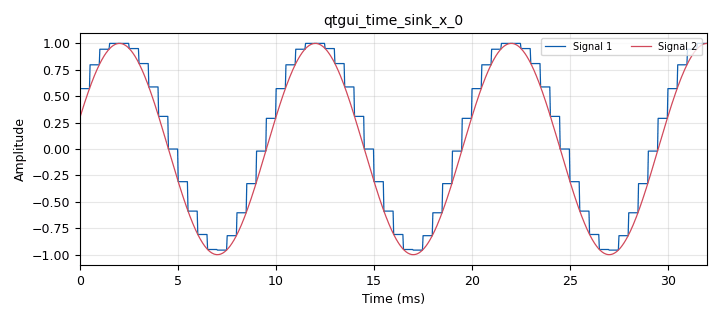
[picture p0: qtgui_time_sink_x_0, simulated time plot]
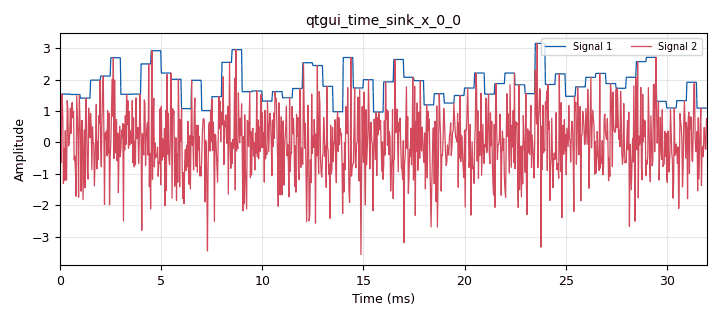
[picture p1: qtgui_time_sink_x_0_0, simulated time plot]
options:
  parameters:
    author: jim
    generate_options: qt_gui
    id: python_block_with_vectors
    output_language: python
    title: vectorinput
  states: {}

blocks:
- name: samp_rate
  id: variable
  parameters:
    value: '32000'
  states: {}
- name: vectorLength
  id: variable
  parameters:
    value: '16'
  states: {}
- name: analog_noise_source_x_0
  id: analog_noise_source_x
  parameters:
    amp: '1'
    noise_type: analog.GR_GAUSSIAN
    seed: '0'
    type: float
  states: {}
- name: analog_sig_source_x_0
  id: analog_sig_source_x
  parameters:
    amp: '1'
    freq: '100'
    offset: '0'
    phase: '0'
    samp_rate: samp_rate
    type: float
    waveform: analog.GR_COS_WAVE
  states: {}
- name: blocks_stream_to_vector_0
  id: blocks_stream_to_vector
  parameters:
    num_items: vectorLength
    type: float
  states: {}
- name: blocks_stream_to_vector_0_0
  id: blocks_stream_to_vector
  parameters:
    num_items: vectorLength
    type: float
  states: {}
- name: blocks_throttle2_0
  id: blocks_throttle2
  parameters:
    samples_per_second: samp_rate
    type: float
  states: {}
- name: blocks_vector_to_stream_0
  id: blocks_vector_to_stream
  parameters:
    num_items: vectorLength
    type: float
  states: {}
- name: blocks_vector_to_stream_0_0
  id: blocks_vector_to_stream
  parameters:
    num_items: vectorLength
    type: float
  states: {}
- name: epy_block_0
  id: epy_block
  parameters:
    _source_code: "\"\"\"\nEmbedded Python Blocks:\n\nEach time this file is saved, GRC will instantiate the first class it finds\nto get ports and parameters of your block. The arguments to __init__  will\nbe the parameters. All of them are required to have default values!\n\"\"\"\n\nimport numpy as np\nfrom gnuradio import gr\n\n\nclass blk(gr.sync_block):  # other base classes are basic_block, decim_block, interp_block\n    \"\"\"Embedded Python Block example - a simple multiply const\"\"\"\n\n    def __init__(self, vectorSize=16):  # only default arguments here\n        \"\"\"arguments to this function show up as parameters in GRC\"\"\"\n        gr.sync_block.__init__(\n            self,\n            name='Max Hold Block',   # will show up in GRC\n            in_sig=[(np.float32,vectorSize),(np.float32,vectorSize)],\n            out_sig=[(np.float32,vectorSize),(np.float32,vectorSize)]\n        )\n        # if an attribute with the same name as a parameter is found,\n        # a callback is registered (properties work, too).\n        \n\n    def work(self, input_items, output_items):\n        \"\"\"example: multiply with constant\"\"\"\n        for portIndex in range(len(input_items)):\n            for vectorIndex in range(len(input_items[portIndex])):\n                maxValue = np.max(input_items[portIndex][vectorIndex])\n                for sampleIndex in range(len(input_items[portIndex][vectorIndex])):\n                    output_items[portIndex][vectorIndex][sampleIndex] = maxValue\n\n        return len(output_items[0])\n    \n"
    vectorSize: '16'
  states: {}
- name: qtgui_time_sink_x_0
  id: qtgui_time_sink_x
  parameters:
    autoscale: 'True'
    entags: 'False'
    nconnections: '2'
    size: '1024'
    srate: samp_rate
    type: float
  states: {}
- name: qtgui_time_sink_x_0_0
  id: qtgui_time_sink_x
  parameters:
    autoscale: 'True'
    entags: 'False'
    nconnections: '2'
    size: '1024'
    srate: samp_rate
    type: float
  states: {}
- name: virtual_sink_0
  id: virtual_sink
  parameters:
    stream_id: sinusoid
  states: {}
- name: virtual_sink_1
  id: virtual_sink
  parameters:
    stream_id: noise
  states: {}
- name: virtual_source_0
  id: virtual_source
  parameters:
    stream_id: sinusoid
  states: {}
- name: virtual_source_1
  id: virtual_source
  parameters:
    stream_id: noise
  states: {}

connections:
- [analog_noise_source_x_0, '0', blocks_stream_to_vector_0_0, '0']
- [analog_noise_source_x_0, '0', virtual_sink_1, '0']
- [analog_sig_source_x_0, '0', blocks_throttle2_0, '0']
- [analog_sig_source_x_0, '0', virtual_sink_0, '0']
- [blocks_stream_to_vector_0, '0', epy_block_0, '0']
- [blocks_stream_to_vector_0_0, '0', epy_block_0, '1']
- [blocks_throttle2_0, '0', blocks_stream_to_vector_0, '0']
- [blocks_vector_to_stream_0, '0', qtgui_time_sink_x_0, '0']
- [blocks_vector_to_stream_0_0, '0', qtgui_time_sink_x_0_0, '0']
- [epy_block_0, '0', blocks_vector_to_stream_0, '0']
- [epy_block_0, '1', blocks_vector_to_stream_0_0, '0']
- [virtual_source_0, '0', qtgui_time_sink_x_0, '1']
- [virtual_source_1, '0', qtgui_time_sink_x_0_0, '1']

metadata:
  file_format: 1
  grc_version: 3.10.9.2
